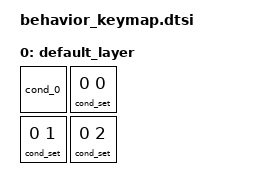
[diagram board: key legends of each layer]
#include <dt-bindings/zmk/keys.h>
#include <behaviors.dtsi>
#include <dt-bindings/zmk/kscan_mock.h>

/ {
    behaviors {
        cond_0: cond_0 {
            compatible = "zmk,behavior-cond";
            #binding-cells = <0>;
            slot = <0>;
            bindings = <&kp A &kp B &kp C>;
        };

        cond_1: cond_1 {
            compatible = "zmk,behavior-cond";
            #binding-cells = <0>;
            slot = <1>;
            bindings = <&kp D &kp E &kp F>;
        };
    };
 
    keymap {
        compatible = "zmk,keymap";

        default_layer {
            bindings = <
                &cond_0 &cond_set 0 0
                &cond_set 0 1 &cond_set 0 2
            >;
        };
    };
};
